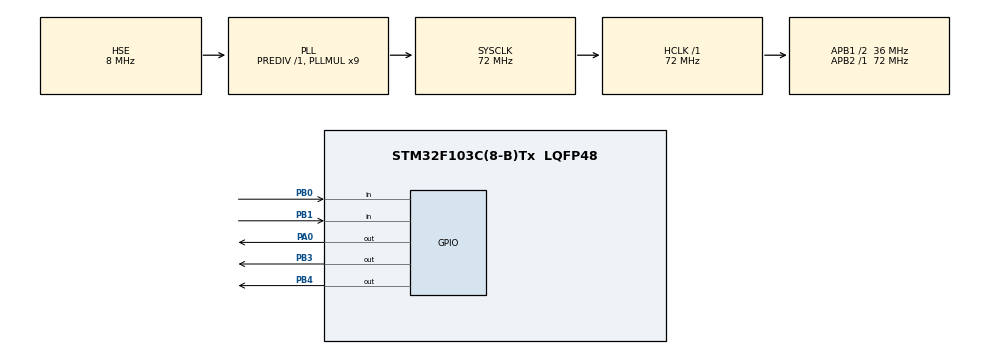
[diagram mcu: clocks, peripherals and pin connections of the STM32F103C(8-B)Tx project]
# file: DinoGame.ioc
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Mcu.Family=STM32F1
Mcu.Name=STM32F103C(8-B)Tx
Mcu.Package=LQFP48
NVIC.PriorityGroup=NVIC_PRIORITYGROUP_4
PA13.Mode=Serial_Wire
PA13.Signal=SYS_JTMS-SWDIO
PA14.Mode=Serial_Wire
PA14.Signal=SYS_JTCK-SWCLK
PB0.GPIO_PuPd=GPIO_PULLUP
PB0.Signal=GPIO_Input
PB1.GPIO_PuPd=GPIO_PULLUP
PB1.Signal=GPIO_Input
PB3.GPIO_PuPd=GPIO_PULLUP
PB3.GPIO_Speed=GPIO_SPEED_FREQ_HIGH
PB3.Signal=GPIO_Output
PB4.GPIO_PuPd=GPIO_PULLUP
PB4.GPIO_Speed=GPIO_SPEED_FREQ_HIGH
PB4.Signal=GPIO_Output
PD0-OSC_IN.Mode=HSE-External-Oscillator
PD0-OSC_IN.Signal=RCC_OSC_IN
PD1-OSC_OUT.Mode=HSE-External-Oscillator
PD1-OSC_OUT.Signal=RCC_OSC_OUT
ProjectManager.HeapSize=0x200
ProjectManager.StackSize=0x400
ProjectManager.TargetToolchain=MDK-ARM V5.32
RCC.AHBFreq_Value=72000000
RCC.APB1CLKDivider=RCC_HCLK_DIV2
RCC.APB1Freq_Value=36000000
RCC.APB1TimFreq_Value=72000000
RCC.APB2Freq_Value=72000000
RCC.APB2TimFreq_Value=72000000
RCC.HCLKFreq_Value=72000000
RCC.PLLMUL=RCC_PLL_MUL9
RCC.PLLSourceVirtual=RCC_PLLSOURCE_HSE
RCC.SYSCLKFreq_VALUE=72000000
RCC.SYSCLKSource=RCC_SYSCLKSOURCE_PLLCLK
RCC.USBFreq_Value=72000000
ADC1.master=1
PA0.GPIO_Speed=GPIO_SPEED_FREQ_HIGH
PA0.Signal=GPIO_Output
PA1.Signal=ADC_IN1
PA2.Signal=ADC_IN2
board=custom

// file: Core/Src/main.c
/* USER CODE BEGIN Header */
/**
  ******************************************************************************
  * @file           : main.c
  * @brief          : Main program body
  ******************************************************************************
  * @attention
  *
  * Copyright (c) 2022 STMicroelectronics.
  * All rights reserved.
  *
  * This software is licensed under terms that can be found in the LICENSE file
  * in the root directory of this software component.
  * If no LICENSE file comes with this software, it is provided AS-IS.
  *
  ******************************************************************************
  */
/* USER CODE END Header */
#include "main.h"
#include "gpio.h"

/* USER CODE BEGIN Includes */
#include "oled12864.h"
#include "buzzer.h"
#include "sensor.h"
#include "adc.h"
#include "joystick.h"
#include "ultrasonic.h"
#include "oled091.h"
#include <stdlib.h>
/* USER CODE END Includes */

/* USER CODE BEGIN PD */
#define SCORE_SOUND_STEP    100
#define SENSOR_READ_PERIOD  30
#define BIRD_PROBABILITY    30
/* USER CODE END PD */

void SystemClock_Config(void);

/* USER CODE BEGIN 0 */
int get_key_val(void)
{
	if(HAL_GPIO_ReadPin(GPIOB, GPIO_PIN_0)==0)
	{
		return 2;
	}
	if(HAL_GPIO_ReadPin(GPIOB, GPIO_PIN_1)==0)
	{
		return 1;
	}
	return 0;
}
/* USER CODE END 0 */

int main(void)
{
  /* USER CODE BEGIN 1 */
	unsigned char key_num = 0;
	unsigned char cactus_category = 0;
	unsigned char cactus_length = 8;
	unsigned int score = 0;
	unsigned int highest_score = 0;
	int height = 0;
	int cactus_pos = 128;
	int bird_pos = 128;
	unsigned char cur_speed = 30;
	char failed = 0;
	char reset = 0;
	char is_bird = 0;
	char is_duck = 0;

	unsigned int score_milestone = SCORE_SOUND_STEP;
	unsigned int frame_count = 0;
	unsigned char dark_mode = 0;
	unsigned char last_dark_mode = 0;
	float temperature = 25.0f;
	unsigned char temp_bonus = 0;
	unsigned char death_sound_played = 0;
	unsigned char oled_blink_tick = 0;
  /* USER CODE END 1 */

  /* MCU Configuration--------------------------------------------------------*/

  /* Reset of all peripherals, Initializes the Flash interface and the Systick. */
  HAL_Init();

  /* Configure the system clock */
  SystemClock_Config();

  /* Initialize all configured peripherals */
  MX_GPIO_Init();
  MX_ADC1_Init();
  /* USER CODE BEGIN 2 */
  OLED_Init();
  Buzzer_Init();
  Sensor_Init();

  dark_mode = IsDarkMode();
  OLED_DisplayInvert(!dark_mode);
  last_dark_mode = dark_mode;

  Joystick_Init();
  Ultrasonic_Init();
  OLED091_Init();

  OLED_ShowString(0,0,"Test",4);
	OLED_DrawCover();

	while(get_key_val()!=2 && Joystick_IsPressed()==0)
	{
		unsigned char dm = IsDarkMode();
		if (dm != dark_mode)
		{
			OLED_DisplayInvert(!dm);
			dark_mode = dm;
			last_dark_mode = dm;
		}
	}
	HAL_Delay(100);
	OLED_Clear();

  /* USER CODE END 2 */

  /* Infinite loop */
  while (1)
  {

		if (failed == 1)
		{
			OLED_DrawRestart();

			if (!death_sound_played)
			{
				Buzzer_PlaySound(SOUND_DEATH);
				death_sound_played = 1;
			}

			if (score > highest_score)
			{
				highest_score = score;
				OLED091_ShowGameOver(score);
			}

			JoystickAction joy_act = Joystick_Read();
			key_num = get_key_val();

			if (key_num == 2 || joy_act == JOY_PRESS)
			{
				score = 0;
				score_milestone = SCORE_SOUND_STEP;
				failed = 0;
				death_sound_played = 0;
				height = 0;
				reset = 1;
				is_bird = 0;
				is_duck = 0;
				temp_bonus = 0;
				frame_count = 0;
				oled_blink_tick = 0;
				OLED091_ShowScore(0);
				OLED_DrawDinoJump(reset);
				OLED_DrawCactusRandom(cactus_category, reset);
				OLED_DrawBird(1);
				OLED_Clear();
			}
			continue;
		}

		score ++;

		if (score >= score_milestone)
		{
			Buzzer_PlaySound(SOUND_SCORE);
			score_milestone += SCORE_SOUND_STEP;
		}

		if (height <= 0 && !is_duck)
		{
			key_num = get_key_val();

			JoystickAction joy_act = Joystick_Read();
			if (joy_act == JOY_UP) key_num = 1;

			if (Ultrasonic_IsNear()) key_num = 1;

			if (joy_act == JOY_DOWN)
			{
				key_num = 0;
				is_duck = 1;
			}
			else
			{
				is_duck = 0;
			}
		}
		else if (is_duck && height <= 0)
		{
			JoystickAction joy_act2 = Joystick_Read();
			if (joy_act2 != JOY_DOWN)
			{
				is_duck = 0;
			}
		}

		if (key_num == 1 && height <= 0)
		{
			Buzzer_PlaySound(SOUND_JUMP);
		}

		OLED_DrawGround();
		OLED_DrawCloud();

		if (height>0 || key_num == 1) height = OLED_DrawDinoJump(reset);
		else if (is_duck) OLED_DrawDinoDuck();
		else OLED_DrawDino();

		if (is_bird == 0)
		{
			cactus_pos = OLED_DrawCactusRandom(cactus_category, reset);
			if(cactus_category == 0) cactus_length = 8;
			else if(cactus_category == 1) cactus_length = 16;
			else cactus_length = 24;

			if (cactus_pos + cactus_length < 0)
			{
				if ((rand() % 100) < BIRD_PROBABILITY)
				{
					is_bird = 1;
					OLED_DrawBird(1);
					bird_pos = 128;
				}
				else
				{
					cactus_category = rand()%4;
					OLED_DrawCactusRandom(cactus_category, 1);
				}
			}
		}

		if (is_bird == 1)
		{
			bird_pos = OLED_DrawBird(0);
			OLED_DrawCactusRandom(cactus_category, 1);
			if (bird_pos + 16 < 0)
			{
				is_bird = 0;
				OLED_DrawBird(1);
				cactus_category = rand()%4;
				OLED_DrawCactusRandom(cactus_category, 1);
			}
		}

		if (is_bird == 0)
		{
			if ((height < 16) && ((cactus_pos>=16 && cactus_pos <=32) || (cactus_pos + cactus_length>=16 && cactus_pos + cactus_length <=32)))
			{
				failed = 1;
				continue;
			}
		}
		else
		{
			if (!is_duck && ((bird_pos>=16 && bird_pos <=32) || (bird_pos + 16>=16 && bird_pos + 16 <=32)))
			{
				failed = 1;
				continue;
			}
		}

		/* ---- 定期读取传感器(每 SENSOR_READ_PERIOD 帧) ---- */
		if (frame_count % SENSOR_READ_PERIOD == 0)
		{
			dark_mode = IsDarkMode();
			if (dark_mode != last_dark_mode)
			{
				OLED_DisplayInvert(!dark_mode);
				last_dark_mode = dark_mode;
			}

			temperature = Sensor_GetTemperature();

			if (temperature > 30.0f)
			{
				temp_bonus = (unsigned char)((temperature - 30.0f) / 5.0f);
				if (temp_bonus > 10) temp_bonus = 10;
			}
			else
			{
				temp_bonus = 0;
			}
		}

		OLED_ShowString(48, 0, "HI:", 12);
		OLED_ShowNum(71, 0, highest_score, 5, 12);
		OLED_ShowNum(111, 0, score, 5, 12);

		{
			unsigned char temp_display = (unsigned char)(temperature + 0.5f);
			OLED_ShowString(0, 0, "T:", 12);
			OLED_ShowNum(12, 0, temp_display, 2, 12);
			OLED_ShowString(24, 0, "C", 12);
		}

		/* ---- 0.91寸 OLED 更新 ---- */
		if (frame_count % 10 == 0)
		{
			unsigned char temp_disp = (unsigned char)(temperature + 0.5f);
			unsigned char blink = 0;

			if (temperature > 35.0f)
			{
				oled_blink_tick++;
				if (oled_blink_tick >= 10) oled_blink_tick = 0;
				blink = 1;
			}

			OLED091_ShowInfo(score, highest_score, temp_disp, blink);
		}

		reset = 0;
		frame_count++;

		cur_speed = score/20 + temp_bonus;
		if (cur_speed > 29) cur_speed = 29;
		HAL_Delay(30 - cur_speed);

		key_num = 0;
  }
}

void SystemClock_Config(void)
{
  RCC_OscInitTypeDef RCC_OscInitStruct = {0};
  RCC_ClkInitTypeDef RCC_ClkInitStruct = {0};

  /** Initializes the RCC Oscillators according to the specified parameters
  * in the RCC_OscInitTypeDef structure.
  */
  RCC_OscInitStruct.OscillatorType = RCC_OSCILLATORTYPE_HSE;
  RCC_OscInitStruct.HSEState = RCC_HSE_ON;
  RCC_OscInitStruct.HSEPredivValue = RCC_HSE_PREDIV_DIV1;
  RCC_OscInitStruct.HSIState = RCC_HSI_ON;
  RCC_OscInitStruct.PLL.PLLState = RCC_PLL_ON;
  RCC_OscInitStruct.PLL.PLLSource = RCC_PLLSOURCE_HSE;
  RCC_OscInitStruct.PLL.PLLMUL = RCC_PLL_MUL9;
  if (HAL_RCC_OscConfig(&RCC_OscInitStruct) != HAL_OK)
  {
    Error_Handler();
  }

  /** Initializes the CPU, AHB and APB buses clocks
  */
  RCC_ClkInitStruct.ClockType = RCC_CLOCKTYPE_HCLK|RCC_CLOCKTYPE_SYSCLK
                              |RCC_CLOCKTYPE_PCLK1|RCC_CLOCKTYPE_PCLK2;
  RCC_ClkInitStruct.SYSCLKSource = RCC_SYSCLKSOURCE_PLLCLK;
  RCC_ClkInitStruct.AHBCLKDivider = RCC_SYSCLK_DIV1;
  RCC_ClkInitStruct.APB1CLKDivider = RCC_HCLK_DIV2;
  RCC_ClkInitStruct.APB2CLKDivider = RCC_HCLK_DIV1;

  if (HAL_RCC_ClockConfig(&RCC_ClkInitStruct, FLASH_LATENCY_2) != HAL_OK)
  {
    Error_Handler();
  }
}

void Error_Handler(void)
{
  __disable_irq();
  while (1)
  {
  }
}
